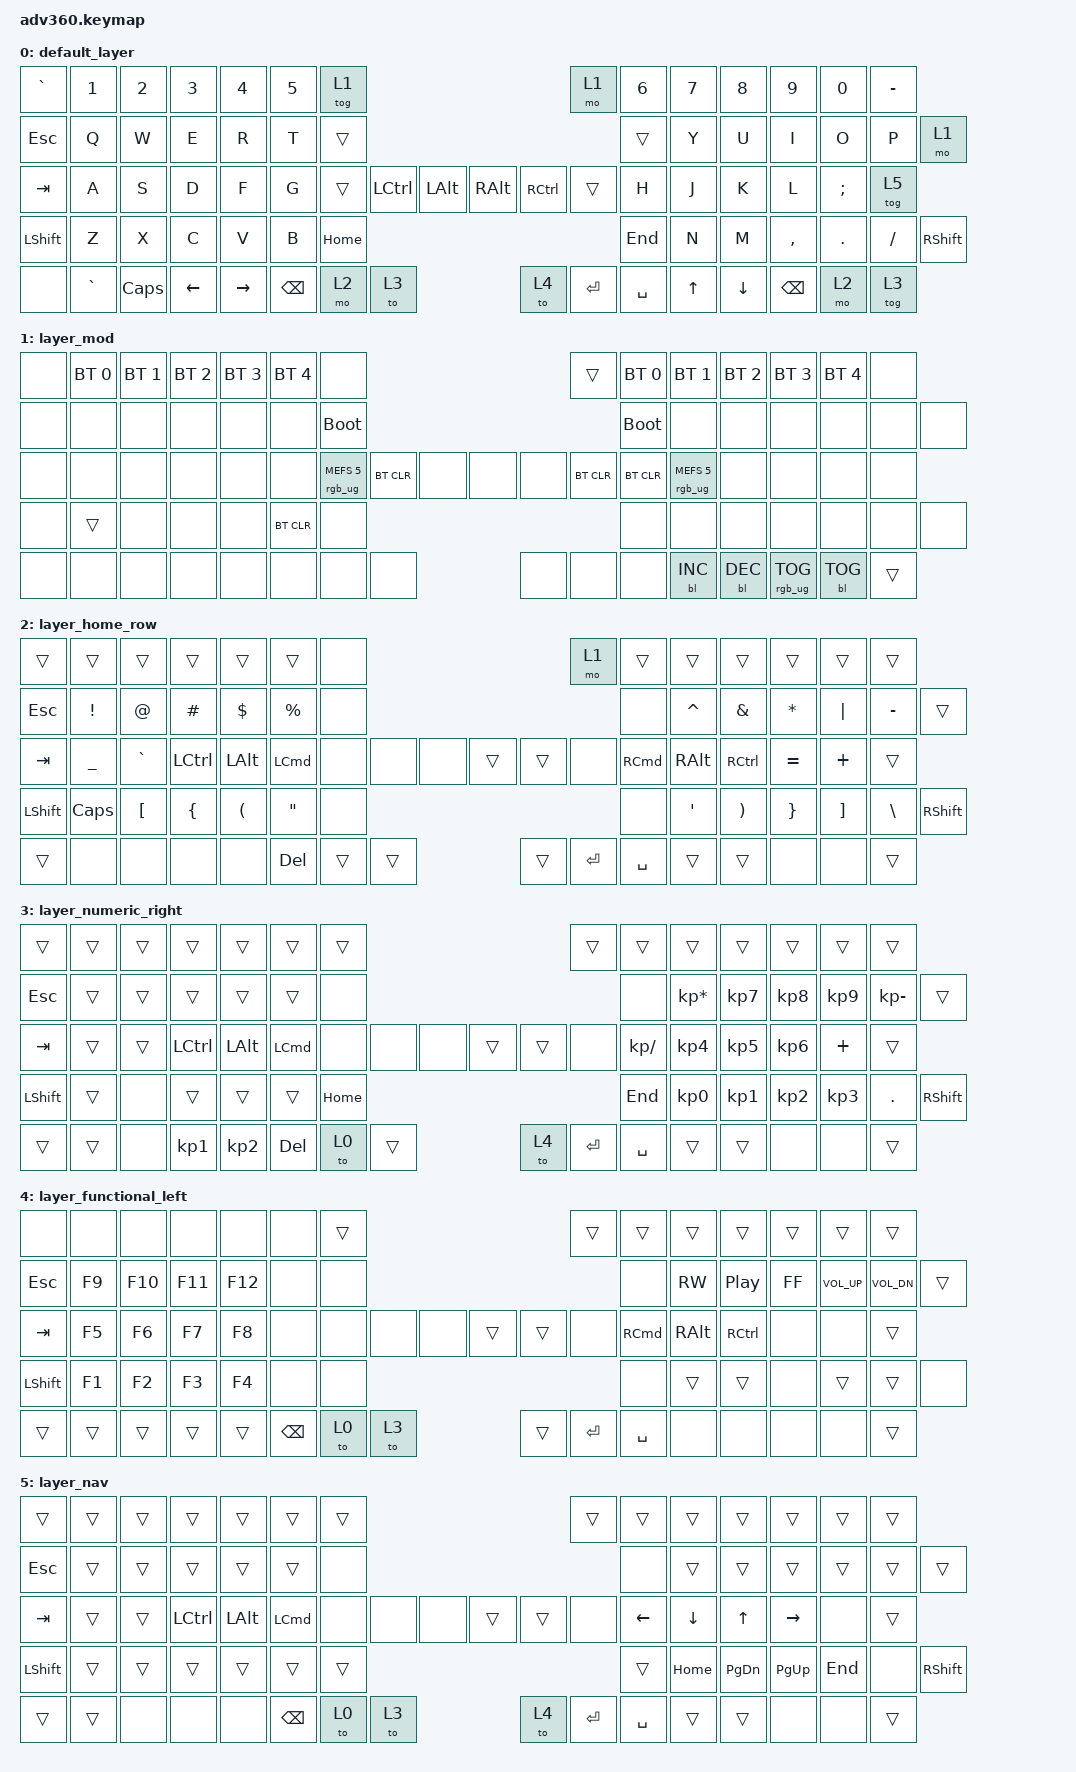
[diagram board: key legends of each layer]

/*
 * Copyright (c) 2020 The ZMK Contributors
 *
 * SPDX-License-Identifier: MIT
 */


/* THIS FILE WAS GENERATED!
 *
 * This file was generated automatically. You may or may not want to
 * edit it directly.
 */

#include <behaviors.dtsi>
#include <dt-bindings/zmk/keys.h>
#include <dt-bindings/zmk/bt.h>
#include <dt-bindings/zmk/rgb.h>
#include <dt-bindings/zmk/backlight.h>

/ {
  behaviors {
    #include "macros.dtsi"
    #include "version.dtsi"

    hm: homerow_mods {
        compatible = "zmk,behavior-hold-tap";
        label = "HOMEROW_MODS";
        #binding-cells = <2>;
        tapping-term-ms = <200>;
        quick_tap_ms = <175>;
        flavor = "tap-preferred";
        bindings = <&kp>, <&kp>;
    };
  };

    keymap {
        compatible = "zmk,keymap";


        default_layer {
            bindings = <
      &kp GRAVE     &kp N1        &kp N2    &kp N3     &kp N4  &kp N5                   &tog 1                                                                                        &mo 1  &kp N6  &kp N7     &kp N8      &kp N9         &kp N0        &kp MINUS
        &kp ESC      &kp Q         &kp W     &kp E      &kp R   &kp T                   &trans                                                                                       &trans   &kp Y   &kp U      &kp I       &kp O          &kp P            &mo 1
        &kp TAB      &kp A         &kp S     &kp D      &kp F   &kp G                   &trans  &kp LEFT_CONTROL  &kp LEFT_ALT                  &kp RIGHT_ALT  &kp RIGHT_CONTROL     &trans   &kp H   &kp J      &kp K       &kp L  &kp SEMICOLON           &tog 5
 &kp LEFT_SHIFT      &kp Z         &kp X     &kp C      &kp V   &kp B                                                 &kp HOME                        &kp END                                 &kp N   &kp M  &kp COMMA  &kp PERIOD      &kp SLASH  &kp RIGHT_SHIFT
          &none  &kp GRAVE  &kp CAPSLOCK  &kp LEFT  &kp RIGHT                    &kp BACKSPACE             &mo 2         &to 3                          &to 4          &kp ENTER  &kp SPACE          &kp UP   &kp DOWN    &kp BSPC          &mo 2           &tog 3
            >;
        };

        layer_mod {
            bindings = <
  &none  &bt BT_SEL 0  &bt BT_SEL 1  &bt BT_SEL 2  &bt BT_SEL 3  &bt BT_SEL 4                             &none                                                           &trans  &bt BT_SEL 0            &bt BT_SEL 1  &bt BT_SEL 2     &bt BT_SEL 3  &bt BT_SEL 4   &none
  &none         &none         &none         &none         &none         &none                       &bootloader                                                      &bootloader         &none                   &none         &none            &none         &none   &none
  &none         &none         &none         &none         &none         &none            &rgb_ug RGB_MEFS_CMD 5  &bt BT_CLR   &none                   &none   &none   &bt BT_CLR    &bt BT_CLR  &rgb_ug RGB_MEFS_CMD 5         &none            &none         &none   &none
  &none        &trans         &none         &none         &none    &bt BT_CLR                                                 &none                   &none                              &none                   &none         &none            &none         &none   &none
  &none         &none         &none         &none         &none                                           &none       &none   &none                   &none   &none        &none                            &bl BL_INC    &bl BL_DEC  &rgb_ug RGB_TOG    &bl BL_TOG  &trans
            >;
        };

        layer_home_row {
            bindings = <
         &trans           &trans            &trans            &trans                &trans             &trans                 &none                                                         &mo 1             &trans                 &trans             &trans             &trans         &trans           &trans
     &kp ESCAPE  &kp EXCLAMATION            &kp AT          &kp HASH            &kp DOLLAR        &kp PERCENT                 &none                                                         &none          &kp CARET          &kp AMPERSAND           &kp STAR           &kp PIPE      &kp MINUS           &trans
        &kp TAB   &kp UNDERSCORE         &kp GRAVE  &kp LEFT_CONTROL          &kp LEFT_ALT   &kp LEFT_COMMAND                 &none   &none   &none                  &trans     &trans      &none  &kp RIGHT_COMMAND          &kp RIGHT_ALT  &kp RIGHT_CONTROL          &kp EQUAL       &kp PLUS           &trans
 &kp LEFT_SHIFT         &kp CAPS  &kp LEFT_BRACKET    &kp LEFT_BRACE  &kp LEFT_PARENTHESIS  &kp DOUBLE_QUOTES                                 &none                   &none                         &kp SINGLE_QUOTE  &kp RIGHT_PARENTHESIS    &kp RIGHT_BRACE  &kp RIGHT_BRACKET  &kp BACKSLASH  &kp RIGHT_SHIFT
         &trans            &none             &none             &none                 &none                               &kp DELETE  &trans  &trans                  &trans  &kp ENTER  &kp SPACE                                    &trans             &trans              &none          &none           &trans
            >;
        };

        layer_numeric_right {
            bindings = <
         &trans  &trans  &trans            &trans           &trans            &trans                &trans                                                           &trans           &trans           &trans           &trans           &trans        &trans           &trans
        &kp ESC  &trans  &trans            &trans           &trans            &trans                 &none                                                            &none  &kp KP_MULTIPLY  &kp KP_NUMBER_7  &kp KP_NUMBER_8  &kp KP_NUMBER_9  &kp KP_MINUS           &trans
        &kp TAB  &trans  &trans  &kp LEFT_CONTROL     &kp LEFT_ALT  &kp LEFT_COMMAND                 &none   &none     &none                   &trans     &trans      &none    &kp KP_DIVIDE  &kp KP_NUMBER_4  &kp KP_NUMBER_5  &kp KP_NUMBER_6      &kp PLUS           &trans
 &kp LEFT_SHIFT  &trans   &none            &trans           &trans            &trans                                &kp HOME                  &kp END                        &kp KP_NUMBER_0  &kp KP_NUMBER_1  &kp KP_NUMBER_2  &kp KP_NUMBER_3       &kp DOT  &kp RIGHT_SHIFT
         &trans  &trans   &none   &kp KP_NUMBER_1  &kp KP_NUMBER_2                              &kp DELETE   &to 0    &trans                    &to 4  &kp ENTER  &kp SPACE                            &trans           &trans            &none         &none           &trans
            >;
        };

        layer_functional_left {
            bindings = <
          &none   &none    &none    &none    &none   &none                   &trans                                                        &trans             &trans         &trans             &trans        &trans        &trans  &trans
     &kp ESCAPE  &kp F9  &kp F10  &kp F11  &kp F12   &none                    &none                                                         &none           &kp C_RW       &kp C_PP           &kp C_FF  &kp C_VOL_UP  &kp C_VOL_DN  &trans
        &kp TAB  &kp F5   &kp F6   &kp F7   &kp F8   &none                    &none   &none   &none                  &trans     &trans      &none  &kp RIGHT_COMMAND  &kp RIGHT_ALT  &kp RIGHT_CONTROL         &none         &none  &trans
 &kp LEFT_SHIFT  &kp F1   &kp F2   &kp F3   &kp F4   &none                                    &none                   &none                                   &trans         &trans              &none        &trans        &trans   &none
         &trans  &trans   &trans   &trans   &trans                    &kp BACKSPACE   &to 0   &to 3                  &trans  &kp ENTER  &kp SPACE                             &none              &none         &none         &none  &trans
            >;
        };

        layer_nav {
            bindings = <
         &trans  &trans  &trans            &trans        &trans            &trans                   &trans                                                        &trans    &trans         &trans       &trans     &trans  &trans           &trans
        &kp ESC  &trans  &trans            &trans        &trans            &trans                    &none                                                         &none    &trans         &trans       &trans     &trans  &trans           &trans
        &kp TAB  &trans  &trans  &kp LEFT_CONTROL  &kp LEFT_ALT  &kp LEFT_COMMAND                    &none   &none   &none                  &trans     &trans      &none  &kp LEFT       &kp DOWN       &kp UP  &kp RIGHT   &none           &trans
 &kp LEFT_SHIFT  &trans  &trans            &trans        &trans            &trans                                   &trans                  &trans                        &kp HOME  &kp PAGE_DOWN  &kp PAGE_UP    &kp END   &none  &kp RIGHT_SHIFT
         &trans  &trans   &none             &none         &none                              &kp BACKSPACE   &to 0   &to 3                   &to 4  &kp ENTER  &kp SPACE                   &trans       &trans      &none   &none           &trans
            >;
        };

    };
};
